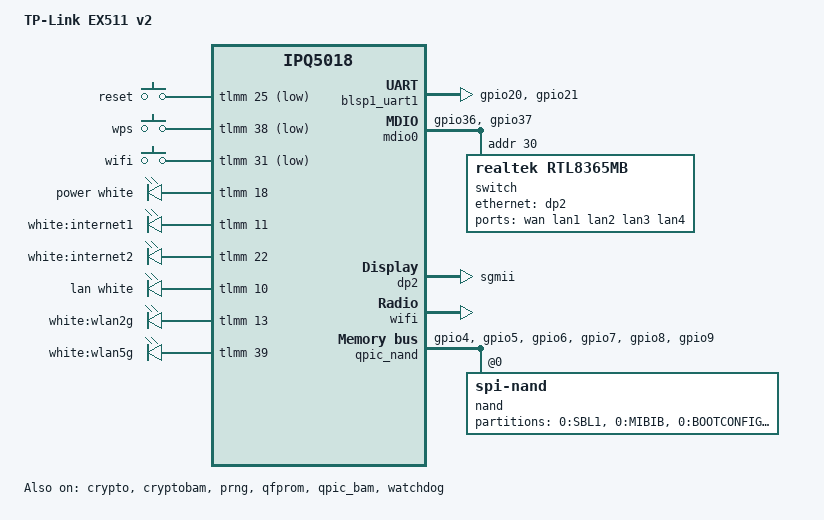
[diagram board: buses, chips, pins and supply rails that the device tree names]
// SPDX-License-Identifier: GPL-2.0-or-later OR MIT

/dts-v1/;

#include "ipq5018.dtsi"
#include "ipq5018-ess.dtsi"

/*
 * Include QCN6122 DTSI for the 5GHz radio protection domain definitions.
 * Physical chip is QCN6102 (confirmed by visual PCB inspection, marking:
 * "QUALCOM QCN 6102 001 JE437HXZ"). Stock firmware uses QCN6122 paths
 * throughout (firmware dirs, ini files) suggesting the firmware blob is
 * shared/compatible between QCN6102 and QCN6122. DTSI retained accordingly.
 */
#include "ipq5018-qcn6122.dtsi"

#include <dt-bindings/gpio/gpio.h>
#include <dt-bindings/input/input.h>
#include <dt-bindings/leds/common.h>

/*
 * TP-Link EX511 v2 — Board Topology
 *
 *  +-----------------------------+        +-----------------------------+
 *  |          IPQ5018            |        |          RTL8367S           |
 *  |                             |        |                             |
 *  |  +---------+                |        |  +-------+                 |
 *  |  |  2.4GHz |  ath11k        |        |  | PORT0 |----------  WAN  |
 *  |  |  WiFi   |  c000000.wifi  |        |  +-------+                 |
 *  |  +---------+                |        |  +-------+                 |
 *  |                             |        |  | PORT1 |----------  LAN1 |
 *  |  +------+   +------------+  |        |  +-------+                 |
 *  |  | dp2  |---| SGMII 2.5G |--+--------+--| PORT6 |                 |
 *  |  | MAC  |   | 0x39d00000 |  |        |  | CPU   |  +-------+     |
 *  |  +------+   +------------+  |        |  +-------+  | PORT2 |---  LAN2
 *  |                             |        |             +-------+     |
 *  |  MDIO: GPIO 36 (MDC)        |        |             +-------+     |
 *  |         GPIO 37 (MDIO)      |        |             | PORT3 |---  LAN3
 *  |  Switch reset: GPIO 33      |        |             +-------+     |
 *  |                             |        |             +-------+     |
 *  +-----------------------------+        |             | PORT4 |---  LAN4
 *                                         |             +-------+     |
 *  +-----------------------------+        +-----------------------------+
 *  |          QCN6102            |
 *  |                             |
 *  |  +---------+                |
 *  |  |  5GHz   |  ath11k        |
 *  |  |  WiFi   |  b00a040.wifi  |
 *  |  +---------+                |
 *  |  AHB / PCIe                 |
 *  +-----------------------------+
 *
 *  NAND : 128 MiB SPI NAND via QPIC
 *  UART : GPIO 20 (RX) / GPIO 21 (TX) @ 115200n8
 *  USB  : USB 3.0, DWC3/QCOM controller
 */

/ {
	model = "TP-Link EX511 v2";
	compatible = "tplink,ex511-v2", "qcom,ipq5018";

	aliases {
		serial0 = &blsp1_uart1;
		ethernet0 = &dp2;
		label-mac-device = &dp2;
	};

	chosen {
		stdout-path = "serial0:115200n8";
		bootargs = "console=ttyMSM0,115200n8 earlyprintk panic=10";
	};

	/*
	 * GPIO sources: reverse engineered from tp_gpio.ko .data section
	 * strings, extracted from stock NAND squashfs.
	 * Reset button GPIO 25 additionally confirmed by stock MP03.3 DTB:
	 * gengeric_gpio { reset { gpio = <0x19>; } } (0x19 = 25).
	 */
	keys {
		compatible = "gpio-keys";

		reset {
			label = "reset";
			gpios = <&tlmm 25 GPIO_ACTIVE_LOW>;
			linux,code = <KEY_RESTART>;
		};

		wps {
			label = "wps";
			gpios = <&tlmm 38 GPIO_ACTIVE_LOW>;
			linux,code = <KEY_WPS_BUTTON>;
		};

		/* WiFi button GPIO 31 -- from tp_gpio.ko, active polarity unconfirmed */
		wifi {
			label = "wifi";
			gpios = <&tlmm 31 GPIO_ACTIVE_LOW>;
			linux,code = <KEY_RFKILL>;
		};
	};

	leds {
		compatible = "gpio-leds";

		power {
			function = LED_FUNCTION_POWER;
			color = <LED_COLOR_ID_WHITE>;
			gpios = <&tlmm 18 GPIO_ACTIVE_HIGH>;
			default-state = "on";
		};

		/* Dual internet LEDs -- purpose/colour distinction TBD */
		internet1 {
			label = "white:internet1";
			gpios = <&tlmm 11 GPIO_ACTIVE_HIGH>;
		};

		internet2 {
			label = "white:internet2";
			gpios = <&tlmm 22 GPIO_ACTIVE_HIGH>;
		};

		lan {
			function = LED_FUNCTION_LAN;
			color = <LED_COLOR_ID_WHITE>;
			gpios = <&tlmm 10 GPIO_ACTIVE_HIGH>;
		};

		wlan2g {
			label = "white:wlan2g";
			gpios = <&tlmm 13 GPIO_ACTIVE_HIGH>;
			linux,default-trigger = "phy0tpt";
		};

		wlan5g {
			label = "white:wlan5g";
			gpios = <&tlmm 39 GPIO_ACTIVE_HIGH>;
			linux,default-trigger = "phy1tpt";
		};
	};
};

&sleep_clk {
	clock-frequency = <32000>;
};

&xo_board_clk {
	clock-div = <4>;
	clock-mult = <1>;
};

&crypto { status = "okay"; };
&cryptobam { status = "okay"; };
&prng { status = "okay"; };
&qfprom { status = "okay"; };
&qpic_bam { status = "okay"; };

&tlmm {
	qpic_pins: qpic-pins {
		data {
			pins = "gpio4", "gpio5", "gpio6", "gpio7";
			function = "qspi_data";
			drive-strength = <8>;
			bias-pull-up;
		};
		cs {
			pins = "gpio8";
			function = "qspi_cs";
			drive-strength = <8>;
			bias-pull-up;
		};
		clk {
			pins = "gpio9";
			function = "qspi_clk";
			drive-strength = <8>;
			bias-pull-up;
		};
	};

	mdio_pins: mdio-pins {
		/*
		 * MDC/MDIO pins confirmed by stock MP03.3 DTB:
		 * gmac_cfg { ext_mdio_gpio = <0x24 0x25>; }
		 * 0x24=36 (MDC), 0x25=37 (MDIO).
		 */
		mdc {
			pins = "gpio36";
			function = "mdc";
			drive-strength = <8>;
			bias-pull-up;
		};

		mdio {
			pins = "gpio37";
			function = "mdio";
			drive-strength = <8>;
			bias-pull-up;
		};
	};

	/*
	 * UART pinctrl function name "blsp_uart" -- needs kernel verification
	 * against ipq5018 tlmm driver function enum. Working in practice.
	 */
	serial_0_pins: serial0-pins {
		rx {
			pins = "gpio20";
			function = "blsp_uart";
			bias-pull-up;
		};
		tx {
			pins = "gpio21";
			function = "blsp_uart";
			bias-pull-up;
		};
	};
};

&blsp1_uart1 {
	status = "okay";
	pinctrl-0 = <&serial_0_pins>;
	pinctrl-names = "default";
	clocks = <&gcc GCC_BLSP1_UART1_APPS_CLK>,
	         <&gcc GCC_BLSP1_AHB_CLK>;
	clock-names = "core", "iface";
};

&mdio0 {
	status = "okay";
	pinctrl-0 = <&mdio_pins>;
	pinctrl-names = "default";

	/*
	 * reset-gpios intentionally omitted. GPIO 33 appeared in earlier
	 * DTS revisions but has no supporting evidence: not present in
	 * stock MP03.3 DTB gmac2_cfg, not in tp_gpio.ko, not in any
	 * init script. RTL8367S reset GPIO for this board is unknown.
	 */

	/*
	 * Switch: Realtek RTL8367S
	 * Confirmed by visual PCB inspection: "RTL 8367S OBC23G1 G047B TAIWAN"
	 * Connection: SGMII 2.5G to dp2 (SoC MAC)
	 * Confirmed by stock MP03.3 DTB gmac2_cfg: rtl_switch_enable=1 on
	 * gmac2 (base 0x39d00000).
	 * Stock firmware initialises via /proc/rtl8367s/ (proprietary driver),
	 * SGMII mode confirmed: echo 2 > /proc/rtl8367s/mii_type
	 * Ports 0-4 confirmed active: rcS writes phy_reg for ports 0-4 only.
	 *
	 * Compatible string: "realtek,rtl8365mb" is correct for the whole
	 * RTL836x family. Do NOT change to "realtek,rtl8367s" -- that string
	 * does not exist in the kernel. The driver detects RTL8367S at runtime
	 * via chip_id register 0x1300, matching chip_id=0x6367 (rtl8365mb.c
	 * lines 526, 537, 549).
	 *
	 * MDIO address 0x1e (30): RTL8367S conventional default. Not confirmed
	 * from stock firmware -- stock uses proc interface, not MDIO enumeration.
	 * Verify via MDIO bus scan on hardware if possible.
	 *
	 * Port mapping: derived from DTS structure and rcS port iteration.
	 * Physical cable verification recommended.
	 *
	 * Status: DSA driver correct and ready. Blocked on dp2 MAC driver
	 * (qcom,nss-dp has no mainline driver in Linux 6.12). Will work
	 * automatically once dp2 probes.
	 */
	switch@1e {
		compatible = "realtek,rtl8365mb";
		reg = <0x1e>;
		#address-cells = <1>;
		#size-cells = <0>;

		ports {
			#address-cells = <1>;
			#size-cells = <0>;

			port@0 {
				reg = <0>;
				label = "wan";
			};

			port@1 {
				reg = <1>;
				label = "lan1";
			};

			port@2 {
				reg = <2>;
				label = "lan2";
			};

			port@3 {
				reg = <3>;
				label = "lan3";
			};

			port@4 {
				reg = <4>;
				label = "lan4";
			};

			port@6 {
				reg = <6>;
				ethernet = <&dp2>;
				phy-mode = "sgmii";

				fixed-link {
					speed = <2500>;
					full-duplex;
				};
			};
		};
	};
};

/*
 * dp1: IPQ5018 internal GE PHY -- not used on this board.
 * This board uses dp2 (SGMII) to the external RTL8367S switch.
 */
&dp1 {
	status = "disabled";
};

/*
 * dp2: SoC MAC for SGMII link to RTL8367S CPU port (PORT6).
 * Base address 0x39d00000, confirmed by stock DTB gmac2_cfg.
 * compatible = "qcom,nss-dp" (from ipq5018-ess.dtsi).
 * BLOCKED: no mainline driver for qcom,nss-dp in Linux 6.12.
 * Out-of-tree qca-nss-dp + qca-ssdk attempted and abandoned --
 * kernel panic (fal_mib_port_flush_counters, x0=0x2e0) on boot.
 * Waiting for upstream MAC driver (George Moussalem patch series).
 */
&dp2 {
	status = "okay";
	phy-mode = "sgmii";
	label = "cpu";
};

/*
 * 2.4GHz radio: IPQ5018 integrated (AHB), ath11k path c000000.wifi.
 * Board data generated with ath11k-bdencoder from stock bdwlan.bin.
 * Cal data: ART partition all 0xFF on this unit (ISP-erased).
 * Firmware falls back to internal defaults -- radio functional.
 * fw-memory-mode=2 set during debugging; mode=1 may also work.
 * Status: phy0 appears. Scan broken pending removal of fake cal
 * file (files/lib/firmware/ath11k/IPQ5018/hw1.0/cal-ahb-c000000.wifi.bin
 * was bdwlan.bin copy, not real cal data -- must be deleted and rebuilt).
 */
&wifi {
	status = "okay";
	qcom,rproc = <&q6_wcss_pd1>;
	qcom,ath11k-calibration-variant = "TP-Link-EX511-v2";
	qcom,ath11k-fw-memory-mode = <2>;
	qcom,bdf-addr = <0x4c400000>;
};

/*
 * 5GHz radio: Physical chip QCN6102 (confirmed visual: "QUALCOM QCN 6102
 * 001 JE437HXZ"). Stock firmware treats as QCN6122 throughout.
 * AHB path b00a040.wifi, protection domain q6_wcss_pd2.
 *
 * DISABLED -- target-wide firmware crash at ~59s (watchdog timeout).
 * Reproduced identically on Yuncore AX830 (same IPQ5018+QCN6122 combo),
 * confirming this is not EX511-specific. QMI init stalls, firmware never
 * completes handshake, watchdog fires. Root cause unknown.
 * Monitor OpenWrt qualcommax mailing list for target-wide fix.
 *
 * Full wifi1 config preserved in comments for when fix lands:
 *
 * &wifi1 {
 *     status = "okay";
 *     qcom,rproc = <&q6_wcss_pd2>;
 *     qcom,userpd-subsys-name = "q6v5_wcss_userpd2";
 *     qcom,ath11k-calibration-variant = "TP-Link-EX511-v2";
 *     qcom,ath11k-fw-memory-mode = <1>;
 *     qcom,bdf-addr = <0x4d100000>;
 *     qcom,m3-dump-addr = <0x4df00000>;
 * };
 */
&wifi1 {
	status = "disabled";
};

&blsp1_spi1 {
	status = "disabled";
};

&watchdog {
	status = "okay";
};

&qpic_nand {
	status = "okay";
	pinctrl-0 = <&qpic_pins>;
	pinctrl-names = "default";

	nand@0 {
		compatible = "spi-nand";
		reg = <0>;
		nand-ecc-engine = <&qpic_nand>;
		nand-bus-width = <8>;

		partitions {
			compatible = "fixed-partitions";
			#address-cells = <1>;
			#size-cells = <1>;

			partition@0 {
				label = "0:SBL1";
				reg = <0x0 0x80000>;
				read-only;
			};

			partition@80000 {
				label = "0:MIBIB";
				reg = <0x80000 0x80000>;
				read-only;
			};

			partition@100000 {
				label = "0:BOOTCONFIG";
				reg = <0x100000 0x40000>;
				read-only;
			};

			partition@140000 {
				label = "0:BOOTCONFIG1";
				reg = <0x140000 0x40000>;
				read-only;
			};

			partition@180000 {
				label = "0:QSEE";
				reg = <0x180000 0x100000>;
				read-only;
			};

			partition@280000 {
				label = "0:DEVCFG";
				reg = <0x280000 0x40000>;
				read-only;
			};

			partition@2c0000 {
				label = "0:CDT";
				reg = <0x2c0000 0x40000>;
				read-only;
			};

			partition@300000 {
				label = "0:APPSBLENV";
				reg = <0x300000 0x80000>;
			};

			partition@380000 {
				label = "0:APPSBL";
				reg = <0x380000 0x140000>;
				read-only;
			};

			partition@4c0000 {
				/*
				 * ART partition: all 0xFF on this unit.
				 * Unit is ISP-branded; ART was erased before
				 * delivery. Stock firmware falls back to
				 * bdwlan.bin in squashfs for board data.
				 */
				label = "0:ART";
				reg = <0x4c0000 0x100000>;
				read-only;
			};

			partition@5c0000 {
				label = "0:TRAINING";
				reg = <0x5c0000 0x80000>;
				read-only;
			};

			partition@640000 {
				label = "misc_data_ro";
				reg = <0x640000 0x600000>;
				read-only;
			};

			partition@c40000 {
				label = "misc_data_rw";
				reg = <0xc40000 0x600000>;
			};

			partition@1240000 {
				label = "rootfs";
				reg = <0x1240000 0x2460000>;
			};

			partition@36a0000 {
				label = "rootfs_1";
				reg = <0x36a0000 0x2460000>;
			};
			partition@5b00000 {
				label = "misc_data_rwbak";
				reg = <0x5b00000 0x600000>;
				read-only;
			};

			partition@6100000 {
				label = "misc_data_isp";
				reg = <0x6100000 0x600000>;
				read-only;
			};
		};
	};
};
